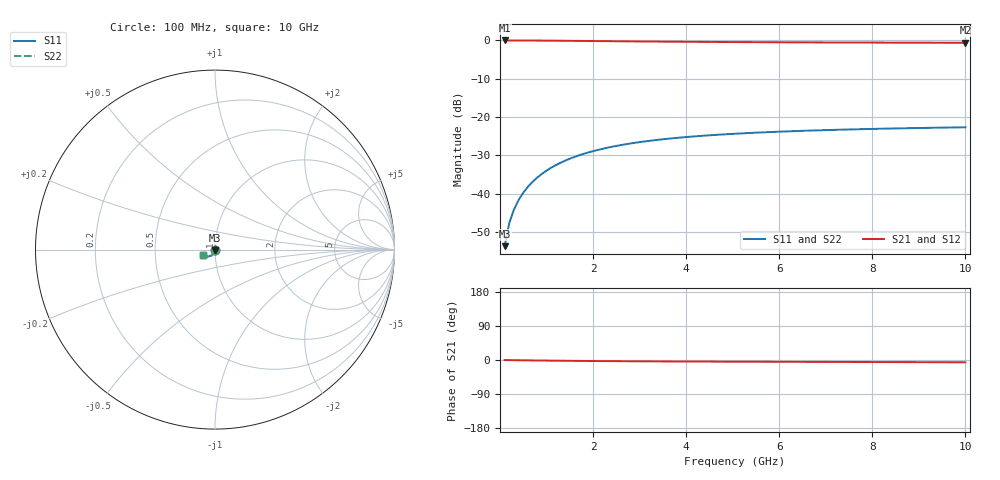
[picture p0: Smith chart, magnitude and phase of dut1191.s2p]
! Touchstone file exported from HFSS 2024.1.0
!  File:  C:/UserFiles/LocalFiles/RDL_TSV_Batchsim/temp_TSV1_1191_1780075555.aedt
!  Generated:  01:31:30 AM May 30, 2026
!  Design:  TSV1
!  Project:  temp_TSV1_1191_1780075555
!  Setup:  Setup1
!  Solution:  Sweep
! Variables:
!  dtsv = 14.03um
!  hbump = 3um
!  htsv = 92.15um
!  lrdl = 252.1521522um
!  p = 40
!  p1 = 46.9um
!  t = 500um
!  trdl = 3um
!  wrdl = 24.89489489um
# GHz S MA R 50.000000
! Terminal data exported
! Port[1] = TSV22_T1
! Port[2] = TSV22_T2
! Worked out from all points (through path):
!   100 points, 100 MHz to 10 GHz, reference 50 ohm
!   highest |S21| = 0.00 dB at 100 MHz (marker M1); lowest = -0.6 dB at 10 GHz (marker M2)
!   lowest |S11| = -53.7 dB at 100 MHz (marker M3), VSWR 1.00, Z = 50 - j0.208 ohm
!   |S11| at or under -10 dB: start of sweep to end of sweep
!   |S22| runs from -53.7 to -22.6 dB; largest |S21 - S12| = 4.2e-15
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0.1  0.002075 -89.1  0.9998 -0.2  0.9998 -0.2  0.002075 -89.1
! Gamma 0 0 0 0
! Port Impedance 50 0 50 0
0.2  0.00415 -91.8  0.9996 -0.3  0.9996 -0.3  0.00415 -91.8
0.3  0.006222 -93.8  0.9993 -0.5  0.9993 -0.5  0.006222 -93.8
0.4  0.008284 -95.6  0.9989 -0.7  0.9989 -0.7  0.008284 -95.6
0.5  0.01033 -97.4  0.9984 -0.8  0.9984 -0.8  0.01033 -97.4
0.6  0.01234 -99.1  0.9977 -1.0  0.9977 -1.0  0.01234 -99.1
0.7  0.01433 -100.7  0.997 -1.1  0.997 -1.1  0.01433 -100.7
0.8  0.01628 -102.3  0.9962 -1.3  0.9962 -1.3  0.01628 -102.3
0.9  0.01819 -103.9  0.9953 -1.4  0.9953 -1.4  0.01819 -103.9
1.1  0.02188 -107.0  0.9934 -1.7  0.9934 -1.7  0.02188 -107.0
1.4  0.02705 -111.3  0.9901 -2.1  0.9901 -2.1  0.02705 -111.3
1.6  0.03024 -114.0  0.9877 -2.3  0.9877 -2.3  0.03024 -114.0
1.8  0.03322 -116.6  0.9852 -2.5  0.9852 -2.5  0.03322 -116.6
2.1  0.03732 -120.2  0.9814 -2.8  0.9814 -2.8  0.03732 -120.2
2.5  0.04213 -124.5  0.9765 -3.1  0.9765 -3.1  0.04213 -124.5
2.9  0.04626 -128.3  0.9718 -3.4  0.9718 -3.4  0.04626 -128.3
3.4  0.05064 -132.4  0.9664 -3.7  0.9664 -3.7  0.05064 -132.4
4.2  0.0562 -137.9  0.959 -4.0  0.959 -4.0  0.0562 -137.9
5.1  0.06095 -142.8  0.9523 -4.4  0.9523 -4.4  0.06095 -142.8
6.7  0.06687 -149.3  0.9433 -5.0  0.9433 -5.0  0.06687 -149.3
8.4  0.07102 -154.4  0.9368 -5.5  0.9368 -5.5  0.07102 -154.4
10  0.07373 -158.1  0.9324 -6.0  0.9324 -6.0  0.07373 -158.1
